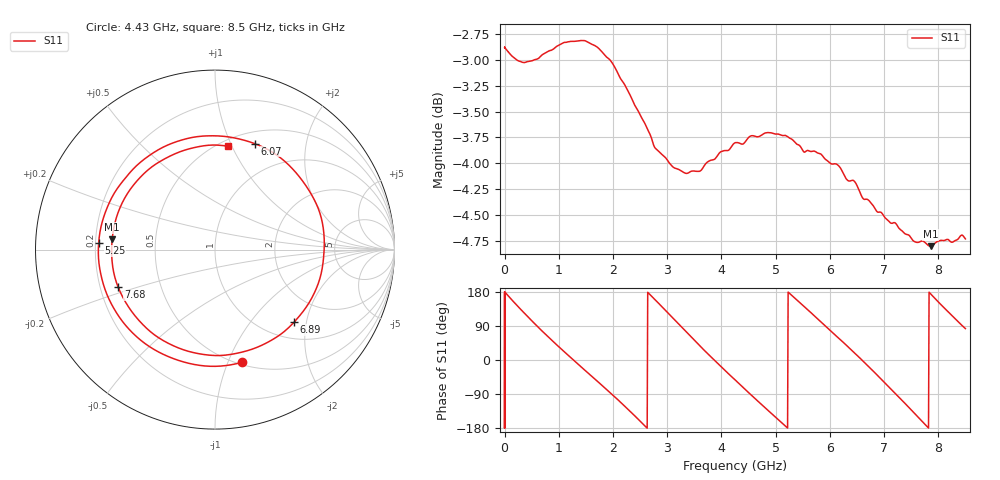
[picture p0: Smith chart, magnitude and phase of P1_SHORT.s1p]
! LibreCAL 5mOUNstcbC0A set FACTORY P1_SHORT
# GHz S RI R 50
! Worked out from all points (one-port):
!   1202 points, 9 kHz to 8.5 GHz, reference 50 ohm
!   lowest |S11| = -4.8 dB at 7.86 GHz (marker M1), VSWR 3.71, Z = 13.5 + j2.31 ohm
!   |S11| at or under -10 dB: nowhere
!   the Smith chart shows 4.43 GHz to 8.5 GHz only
!   S11 on the Smith chart (normalised r, x): 4.43 GHz: 0.52, -1.12; 5.25 GHz: 0.21, +0.03; 6.07 GHz: 0.63, +1.24; 6.89 GHz: 1.36, -1.70; 7.68 GHz: 0.28, -0.17; 8.5 GHz: 0.56, +0.97
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9e-06  -0.7176 -0.00116
0.28  -0.5098 0.4894
0.53  -0.115 0.6981
0.78  0.3086 0.6439
1.07  0.6496 0.3131
1.52  0.6134 -0.3814
1.84  0.213 -0.6792
2.13  -0.2406 -0.6508
2.64  -0.6549 0.0155
3.19  -0.0865 0.621
3.45  0.3172 0.5392
3.75  0.6072 0.1758
4.26  0.3836 -0.5194
4.43  0.149 -0.6284
4.79  -0.3656 -0.5402
5.25  -0.648 0.0382
5.32  -0.6324 0.1388
5.73  -0.2634 0.5825
6.07  0.221 0.5906
6.38  0.5454 0.2925
6.64  0.6016 -0.0749
6.89  0.4414 -0.4029
7.17  0.0727 -0.5862
7.44  -0.3131 -0.4917
7.68  -0.5392 -0.2103
7.86  -0.5727 0.0572
8.2  -0.3286 0.4772
8.5  0.0721 0.5757
